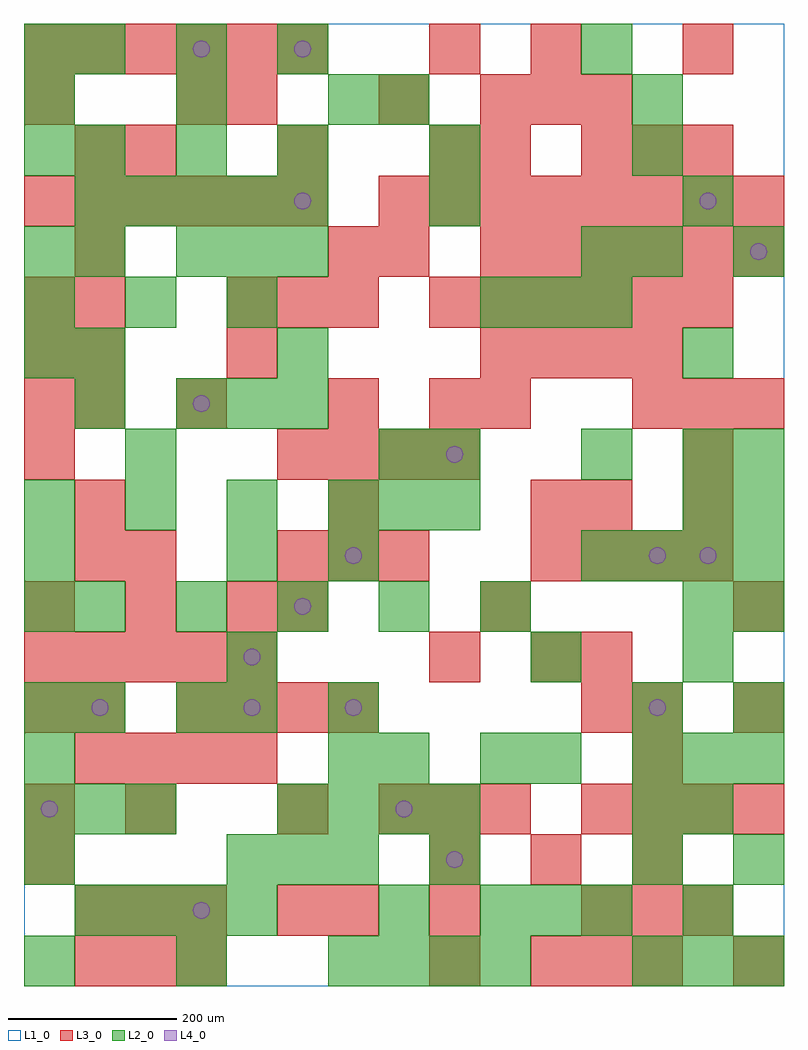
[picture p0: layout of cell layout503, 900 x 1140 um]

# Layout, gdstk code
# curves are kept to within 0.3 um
import gdstk
lib = gdstk.Library(unit=1e-6, precision=1e-09)
def R(c, l, rs):  # rectangles x0, y0, x1, y1
    for r in rs: c.add(gdstk.rectangle(r[:2], r[2:], *l))
def A(c, l, x, y, w, h, nx, ny, dx, dy):  # array of equal rectangles
    R(c, l, [(x+i*dx, y+j*dy, x+i*dx+w, y+j*dy+h) for i in range(nx) for j in range(ny)])
def P(c, l, *ps):  # polygons
    for p in ps: c.add(gdstk.Polygon(p, *l))
L1_0 = (1, 0)
L2_0 = (2, 0)
L3_0 = (3, 0)
L4_0 = (4, 0)

layout503 = lib.new_cell('layout503')
R(layout503, L1_0, [(0,0,900,1140)])
A(layout503, L2_0, 0, 0, 60, 60, 3, 2, 180, 1020)
A(layout503, L2_0, 420, 0, 60, 60, 3, 1, 60, 0)
A(layout503, L2_0, 720, 0, 60, 60, 3, 2, 60, 240)
A(layout503, L2_0, 60, 60, 60, 60, 4, 1, 60, 0)
A(layout503, L2_0, 540, 60, 60, 60, 3, 2, 60, 720)
A(layout503, L2_0, 240, 120, 60, 60, 3, 1, 60, 0)
A(layout503, L2_0, 0, 180, 60, 60, 3, 1, 60, 0)
A(layout503, L2_0, 300, 180, 60, 60, 4, 1, 60, 0)
A(layout503, L2_0, 840, 300, 60, 60, 1, 3, 0, 120)
A(layout503, L2_0, 60, 420, 60, 60, 5, 1, 120, 0)
A(layout503, L2_0, 660, 480, 60, 60, 4, 1, 60, 0)
A(layout503, L2_0, 0, 540, 60, 60, 4, 1, 120, 0)
A(layout503, L2_0, 660, 600, 60, 60, 1, 3, 0, 240)
A(layout503, L2_0, 180, 660, 60, 60, 3, 2, 60, 180)
A(layout503, L2_0, 0, 720, 60, 60, 1, 4, 0, 120)
A(layout503, L2_0, 0, 780, 60, 60, 3, 1, 120, 0)
A(layout503, L2_0, 60, 900, 60, 60, 5, 1, 60, 0)
A(layout503, L2_0, 60, 960, 60, 60, 3, 2, 120, 120)
R(layout503, L2_0, [(420,60,480,120), (780,60,840,120), (0,120,60,180), (480,120,540,180), (720,120,780,180), (840,120,900,180), (720,180,780,240), (780,180,840,240), (0,240,60,300), (360,240,420,300), (420,240,480,300), (540,240,600,300), (600,240,660,300), (0,300,60,360), (60,300,120,360), (180,300,240,360), (240,300,300,360), (360,300,420,360), (720,300,780,360), (240,360,300,420), (600,360,660,420), (780,360,840,420), (0,420,60,480), (780,420,840,480), (0,480,60,540), (240,480,300,540), (360,480,420,540), (420,540,480,600), (480,540,540,600), (780,540,840,600), (120,600,180,660), (420,600,480,660), (480,600,540,660), (780,600,840,660), (840,600,900,660), (60,660,120,720), (60,720,120,780), (300,720,360,780), (780,720,840,780), (60,840,120,900), (720,840,780,900), (840,840,900,900), (480,900,540,960), (780,900,840,960), (480,960,540,1020), (720,960,780,1020), (420,1020,480,1080), (720,1020,780,1080)])
A(layout503, L3_0, 60, 0, 60, 60, 3, 2, 60, 60)
A(layout503, L3_0, 600, 0, 60, 60, 3, 1, 60, 0)
A(layout503, L3_0, 480, 60, 60, 60, 1, 3, 0, 300)
A(layout503, L3_0, 660, 60, 60, 60, 3, 2, 60, 900)
A(layout503, L3_0, 480, 120, 60, 60, 3, 1, 120, 0)
A(layout503, L3_0, 420, 180, 60, 60, 3, 1, 60, 0)
A(layout503, L3_0, 660, 180, 60, 60, 4, 1, 60, 0)
A(layout503, L3_0, 60, 240, 60, 60, 4, 1, 60, 0)
A(layout503, L3_0, 180, 300, 60, 60, 4, 1, 60, 0)
A(layout503, L3_0, 0, 360, 60, 60, 5, 1, 60, 0)
A(layout503, L3_0, 0, 420, 60, 60, 3, 1, 120, 0)
A(layout503, L3_0, 300, 480, 60, 60, 3, 1, 60, 0)
A(layout503, L3_0, 600, 480, 60, 60, 4, 1, 60, 0)
A(layout503, L3_0, 0, 600, 60, 60, 1, 4, 0, 60)
A(layout503, L3_0, 300, 600, 60, 60, 4, 1, 60, 0)
A(layout503, L3_0, 60, 660, 60, 60, 1, 4, 0, 60)
A(layout503, L3_0, 720, 660, 60, 60, 3, 1, 60, 0)
A(layout503, L3_0, 540, 720, 60, 60, 4, 1, 60, 0)
A(layout503, L3_0, 240, 780, 60, 60, 3, 1, 60, 0)
A(layout503, L3_0, 480, 780, 60, 60, 6, 1, 60, 0)
A(layout503, L3_0, 540, 840, 60, 60, 6, 1, 60, 0)
A(layout503, L3_0, 0, 900, 60, 60, 6, 2, 60, 180)
A(layout503, L3_0, 420, 900, 60, 60, 8, 1, 60, 0)
A(layout503, L3_0, 120, 960, 60, 60, 3, 1, 180, 0)
A(layout503, L3_0, 540, 1020, 60, 60, 3, 1, 60, 0)
R(layout503, L3_0, [(480,0,540,60), (840,0,900,60), (300,60,360,120), (360,60,420,120), (0,120,60,180), (0,180,60,240), (120,180,180,240), (300,180,360,240), (720,240,780,300), (0,300,60,360), (60,300,120,360), (660,300,720,360), (720,300,780,360), (840,300,900,360), (600,360,660,420), (660,360,720,420), (300,420,360,480), (540,420,600,480), (840,420,900,480), (60,480,120,540), (120,480,180,540), (60,540,120,600), (360,540,420,600), (600,540,660,600), (660,540,720,600), (780,540,840,600), (780,600,840,660), (180,660,240,720), (360,660,420,720), (540,660,600,720), (240,720,300,780), (360,840,420,900), (420,840,480,900), (60,960,120,1020), (540,960,600,1020), (0,1020,60,1080), (180,1020,240,1080), (240,1020,300,1080), (420,1020,480,1080), (480,1080,540,1140), (600,1080,660,1140), (780,1080,840,1140)])
P(layout503, L4_0, [(40,210),(39.239,213.827),(37.071,217.071),(33.827,219.239),(30,220),(26.173,219.239),(22.929,217.071),(20.761,213.827),(20,210),(20.761,206.173),(22.929,202.929),(26.173,200.761),(30,200),(33.827,200.761),(37.071,202.929),(39.239,206.173)],
  [(100,330),(99.239,333.827),(97.071,337.071),(93.827,339.239),(90,340),(86.173,339.239),(82.929,337.071),(80.761,333.827),(80,330),(80.761,326.173),(82.929,322.929),(86.173,320.761),(90,320),(93.827,320.761),(97.071,322.929),(99.239,326.173)],
  [(220,90),(219.239,93.827),(217.071,97.071),(213.827,99.239),(210,100),(206.173,99.239),(202.929,97.071),(200.761,93.827),(200,90),(200.761,86.173),(202.929,82.929),(206.173,80.761),(210,80),(213.827,80.761),(217.071,82.929),(219.239,86.173)],
  [(220,690),(219.239,693.827),(217.071,697.071),(213.827,699.239),(210,700),(206.173,699.239),(202.929,697.071),(200.761,693.827),(200,690),(200.761,686.173),(202.929,682.929),(206.173,680.761),(210,680),(213.827,680.761),(217.071,682.929),(219.239,686.173)],
  [(220,1110),(219.239,1113.827),(217.071,1117.071),(213.827,1119.239),(210,1120),(206.173,1119.239),(202.929,1117.071),(200.761,1113.827),(200,1110),(200.761,1106.173),(202.929,1102.929),(206.173,1100.761),(210,1100),(213.827,1100.761),(217.071,1102.929),(219.239,1106.173)],
  [(280,330),(279.239,333.827),(277.071,337.071),(273.827,339.239),(270,340),(266.173,339.239),(262.929,337.071),(260.761,333.827),(260,330),(260.761,326.173),(262.929,322.929),(266.173,320.761),(270,320),(273.827,320.761),(277.071,322.929),(279.239,326.173)],
  [(280,390),(279.239,393.827),(277.071,397.071),(273.827,399.239),(270,400),(266.173,399.239),(262.929,397.071),(260.761,393.827),(260,390),(260.761,386.173),(262.929,382.929),(266.173,380.761),(270,380),(273.827,380.761),(277.071,382.929),(279.239,386.173)],
  [(340,450),(339.239,453.827),(337.071,457.071),(333.827,459.239),(330,460),(326.173,459.239),(322.929,457.071),(320.761,453.827),(320,450),(320.761,446.173),(322.929,442.929),(326.173,440.761),(330,440),(333.827,440.761),(337.071,442.929),(339.239,446.173)],
  [(340,930),(339.239,933.827),(337.071,937.071),(333.827,939.239),(330,940),(326.173,939.239),(322.929,937.071),(320.761,933.827),(320,930),(320.761,926.173),(322.929,922.929),(326.173,920.761),(330,920),(333.827,920.761),(337.071,922.929),(339.239,926.173)],
  [(340,1110),(339.239,1113.827),(337.071,1117.071),(333.827,1119.239),(330,1120),(326.173,1119.239),(322.929,1117.071),(320.761,1113.827),(320,1110),(320.761,1106.173),(322.929,1102.929),(326.173,1100.761),(330,1100),(333.827,1100.761),(337.071,1102.929),(339.239,1106.173)],
  [(400,330),(399.239,333.827),(397.071,337.071),(393.827,339.239),(390,340),(386.173,339.239),(382.929,337.071),(380.761,333.827),(380,330),(380.761,326.173),(382.929,322.929),(386.173,320.761),(390,320),(393.827,320.761),(397.071,322.929),(399.239,326.173)],
  [(400,510),(399.239,513.827),(397.071,517.071),(393.827,519.239),(390,520),(386.173,519.239),(382.929,517.071),(380.761,513.827),(380,510),(380.761,506.173),(382.929,502.929),(386.173,500.761),(390,500),(393.827,500.761),(397.071,502.929),(399.239,506.173)],
  [(460,210),(459.239,213.827),(457.071,217.071),(453.827,219.239),(450,220),(446.173,219.239),(442.929,217.071),(440.761,213.827),(440,210),(440.761,206.173),(442.929,202.929),(446.173,200.761),(450,200),(453.827,200.761),(457.071,202.929),(459.239,206.173)],
  [(520,150),(519.239,153.827),(517.071,157.071),(513.827,159.239),(510,160),(506.173,159.239),(502.929,157.071),(500.761,153.827),(500,150),(500.761,146.173),(502.929,142.929),(506.173,140.761),(510,140),(513.827,140.761),(517.071,142.929),(519.239,146.173)],
  [(520,630),(519.239,633.827),(517.071,637.071),(513.827,639.239),(510,640),(506.173,639.239),(502.929,637.071),(500.761,633.827),(500,630),(500.761,626.173),(502.929,622.929),(506.173,620.761),(510,620),(513.827,620.761),(517.071,622.929),(519.239,626.173)],
  [(760,330),(759.239,333.827),(757.071,337.071),(753.827,339.239),(750,340),(746.173,339.239),(742.929,337.071),(740.761,333.827),(740,330),(740.761,326.173),(742.929,322.929),(746.173,320.761),(750,320),(753.827,320.761),(757.071,322.929),(759.239,326.173)],
  [(760,510),(759.239,513.827),(757.071,517.071),(753.827,519.239),(750,520),(746.173,519.239),(742.929,517.071),(740.761,513.827),(740,510),(740.761,506.173),(742.929,502.929),(746.173,500.761),(750,500),(753.827,500.761),(757.071,502.929),(759.239,506.173)],
  [(820,510),(819.239,513.827),(817.071,517.071),(813.827,519.239),(810,520),(806.173,519.239),(802.929,517.071),(800.761,513.827),(800,510),(800.761,506.173),(802.929,502.929),(806.173,500.761),(810,500),(813.827,500.761),(817.071,502.929),(819.239,506.173)],
  [(820,930),(819.239,933.827),(817.071,937.071),(813.827,939.239),(810,940),(806.173,939.239),(802.929,937.071),(800.761,933.827),(800,930),(800.761,926.173),(802.929,922.929),(806.173,920.761),(810,920),(813.827,920.761),(817.071,922.929),(819.239,926.173)],
  [(880,870),(879.239,873.827),(877.071,877.071),(873.827,879.239),(870,880),(866.173,879.239),(862.929,877.071),(860.761,873.827),(860,870),(860.761,866.173),(862.929,862.929),(866.173,860.761),(870,860),(873.827,860.761),(877.071,862.929),(879.239,866.173)])

lib.write_gds('layout503.gds')
